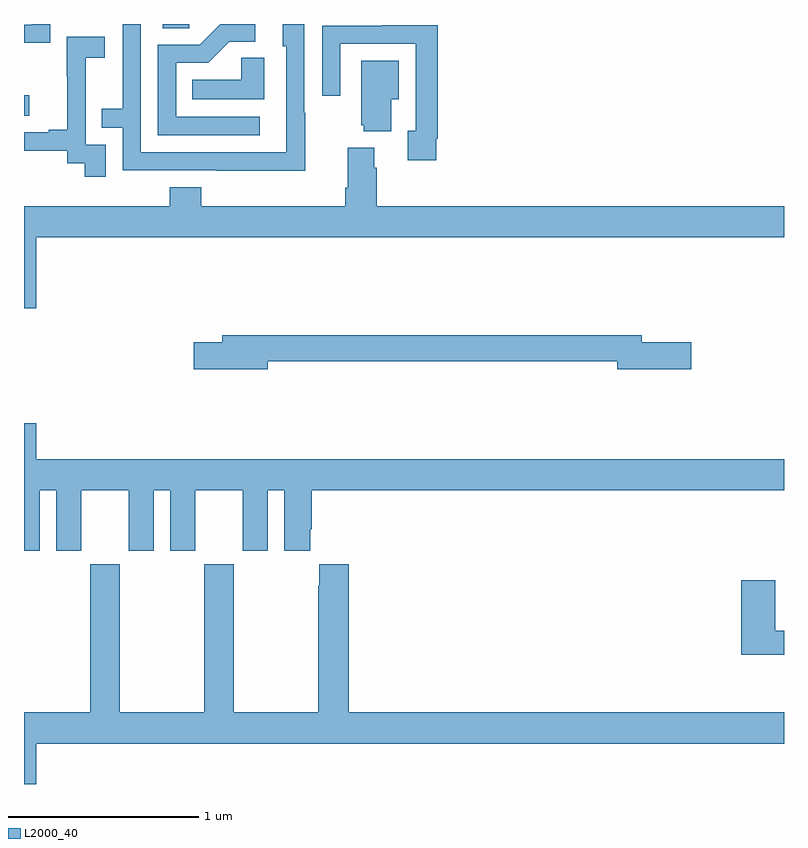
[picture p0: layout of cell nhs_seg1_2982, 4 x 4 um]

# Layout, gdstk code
import gdstk
lib = gdstk.Library(unit=1e-6, precision=1e-09)
def R(c, l, rs):  # rectangles x0, y0, x1, y1
    for r in rs: c.add(gdstk.rectangle(r[:2], r[2:], *l))
def P(c, l, *ps):  # polygons
    for p in ps: c.add(gdstk.Polygon(p, *l))
L2000_40 = (2000, 40)

nhs_seg1_2982 = lib.new_cell('nhs_seg1_2982')
R(nhs_seg1_2982, L2000_40, [(273,541.716,273.028,541.825), (273.731,542.176,273.87,542.199)])
P(nhs_seg1_2982, L2000_40, [(274.479,541.733),(274.476,541.733),(274.476,542.199),(274.361,542.199),(274.361,542.082),(274.38,542.082),(274.38,541.524),(273.615,541.524),(273.615,542.199),(273.519,542.199),(273.519,541.754),(273.409,541.754),(273.409,541.653),(273.519,541.653),(273.519,541.428),(274.015,541.428),(274.015,541.427),(274.479,541.427)],
  [(274.24,541.71),(273.801,541.71),(273.801,541.995),(273.97,541.995),(274.081,542.106),(274.216,542.106),(274.216,542.199),(274.032,542.199),(273.924,542.091),(273.705,542.091),(273.705,541.614),(274.24,541.614)],
  [(273.138,542.199),(273.041,542.199),(273.041,542.196),(273,542.196),(273,542.1),(273.138,542.1)],
  [(275.17,541.594),(275.177,541.594),(275.177,542.192),(274.885,542.192),(274.885,542.19),(274.569,542.19),(274.569,541.821),(274.665,541.821),(274.665,542.094),(275.061,542.094),(275.061,541.638),(275.021,541.638),(275.021,541.482),(275.17,541.482)],
  [(273.429,541.563),(273.324,541.563),(273.324,541.793),(273.326,541.793),(273.326,542.021),(273.424,542.021),(273.424,542.131),(273.226,542.131),(273.226,541.925),(273.227,541.925),(273.227,541.642),(273.131,541.642),(273.131,541.629),(273,541.629),(273,541.533),(273.228,541.533),(273.228,541.465),(273.321,541.465),(273.321,541.395),(273.429,541.395)],
  [(274.264,542.021),(274.143,542.021),(274.143,541.906),(273.886,541.906),(273.886,541.802),(274.264,541.802)],
  [(274.933,541.802),(274.972,541.802),(274.972,542.005),(274.775,542.005),(274.775,541.665),(274.787,541.665),(274.787,541.634),(274.933,541.634)],
  [(273.064,541.076),(277,541.076),(277,541.24),(274.856,541.24),(274.856,541.442),(274.843,541.442),(274.843,541.549),(274.703,541.549),(274.703,541.336),(274.691,541.336),(274.691,541.24),(273.932,541.24),(273.932,541.339),(273.767,541.339),(273.767,541.24),(273,541.24),(273,540.702),(273.064,540.702)],
  [(274.282,540.424),(276.122,540.424),(276.122,540.382),(276.511,540.382),(276.511,540.524),(276.25,540.524),(276.25,540.56),(274.043,540.56),(274.043,540.524),(273.894,540.524),(273.894,540.382),(274.282,540.382)],
  [(273.082,539.744),(273.17,539.744),(273.17,539.427),(273.301,539.427),(273.301,539.744),(273.551,539.744),(273.551,539.427),(273.682,539.427),(273.682,539.744),(273.77,539.744),(273.77,539.427),(273.901,539.427),(273.901,539.744),(274.151,539.744),(274.151,539.427),(274.282,539.427),(274.282,539.744),(274.37,539.744),(274.37,539.427),(274.507,539.427),(274.507,539.539),(274.514,539.539),(274.514,539.744),(277,539.744),(277,539.908),(273.064,539.908),(273.064,540.097),(273,540.097),(273,539.427),(273.082,539.427)],
  [(273.064,538.412),(277,538.412),(277,538.576),(274.709,538.576),(274.709,539.356),(274.553,539.356),(274.553,539.243),(274.549,539.243),(274.549,538.576),(274.104,538.576),(274.104,539.356),(273.949,539.356),(273.949,538.576),(273.504,538.576),(273.504,539.356),(273.349,539.356),(273.349,538.576),(273,538.576),(273,538.199),(273.064,538.199)],
  [(277,539.006),(276.954,539.006),(276.954,539.272),(276.776,539.272),(276.776,538.878),(277,538.878)])

lib.write_gds('nhs_seg1_2982.gds')
